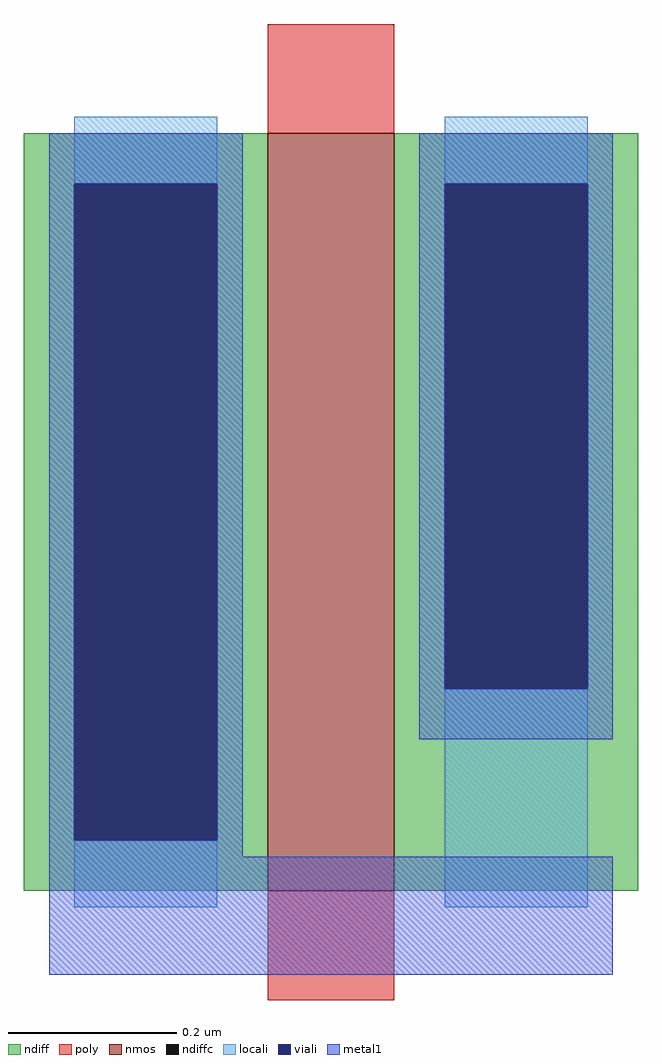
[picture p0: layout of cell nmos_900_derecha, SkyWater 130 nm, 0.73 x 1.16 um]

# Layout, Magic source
magic
tech sky130A
magscale 1 2
<< nmos >>
rect -15 -96 15 84
<< ndiff >>
rect -73 72 -15 84
rect -73 -84 -61 72
rect -27 -84 -15 72
rect -73 -96 -15 -84
rect 15 72 73 84
rect 15 -48 27 72
rect 61 -48 73 72
rect 15 -96 73 -48
<< ndiffc >>
rect -61 -84 -27 72
rect 27 -48 61 72
<< poly >>
rect -15 84 15 110
rect -15 -122 15 -96
<< locali >>
rect -61 72 -27 88
rect -61 -100 -27 -84
rect 27 72 61 88
rect 27 -100 61 -48
<< viali >>
rect -61 -84 -27 72
rect 27 -48 61 72
<< metal1 >>
rect -67 72 -21 84
rect -67 -84 -61 72
rect -27 -84 -21 72
rect 21 72 67 84
rect 21 -48 27 72
rect 61 -48 67 72
rect 21 -60 67 -48
rect -67 -88 -21 -84
rect -67 -116 67 -88
<< properties >>
string gencell sky130_fd_pr__nfet_01v8
string parameters w 0.9 l 0.150 m 1 nf 1 diffcov 100 polycov 100 guard 0 glc 0 grc 0 gtc 0 gbc 0 tbcov 100 rlcov 100 topc 0 botc 0 poverlap 0 doverlap 1 lmin 0.15 wmin 0.42 compatible {sky130_fd_pr__nfet_01v8 sky130_fd_pr__nfet_01v8_lvt  sky130_fd_bs_flash__special_sonosfet_star  sky130_fd_pr__nfet_g5v0d10v5 sky130_fd_pr__nfet_05v0_nvt} full_metal 0 viasrc 100 viadrn 100 viagate 100 viagb 0 viagr 0 viagl 0 viagt 0
string library sky130
<< end >>
